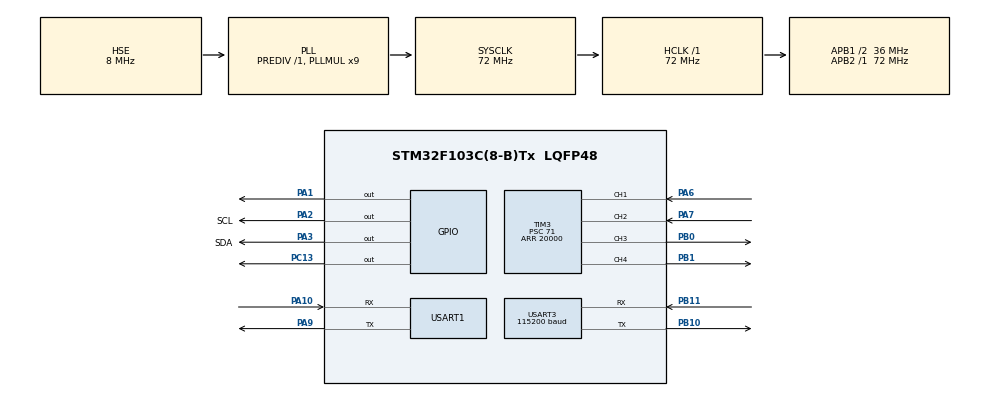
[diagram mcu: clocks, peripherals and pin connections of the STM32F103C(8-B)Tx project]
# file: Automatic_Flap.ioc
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Dma.Request0=USART3_RX
Dma.USART3_RX.0.Direction=DMA_PERIPH_TO_MEMORY
Dma.USART3_RX.0.Instance=DMA1_Channel3
Dma.USART3_RX.0.MemDataAlignment=DMA_MDATAALIGN_BYTE
Dma.USART3_RX.0.MemInc=DMA_MINC_ENABLE
Dma.USART3_RX.0.Mode=DMA_NORMAL
Dma.USART3_RX.0.PeriphDataAlignment=DMA_PDATAALIGN_BYTE
Dma.USART3_RX.0.PeriphInc=DMA_PINC_DISABLE
Dma.USART3_RX.0.Priority=DMA_PRIORITY_MEDIUM
Mcu.Family=STM32F1
Mcu.Name=STM32F103C(8-B)Tx
Mcu.Package=LQFP48
NVIC.DMA1_Channel3_IRQn=true\:0\:0\:false\:false\:true\:false\:true\:true
NVIC.PriorityGroup=NVIC_PRIORITYGROUP_4
NVIC.TIM3_IRQn=true\:0\:0\:false\:false\:true\:true\:true\:true
NVIC.USART1_IRQn=true\:0\:0\:false\:false\:true\:true\:true\:true
NVIC.USART3_IRQn=true\:0\:0\:false\:false\:true\:true\:true\:true
PA1.GPIO_ModeDefaultOutputPP=GPIO_MODE_OUTPUT_OD
PA1.GPIO_PuPd=GPIO_PULLUP
PA1.PinState=GPIO_PIN_SET
PA1.Signal=GPIO_Output
PA10.Mode=Asynchronous
PA10.Signal=USART1_RX
PA13.Mode=Serial_Wire
PA13.Signal=SYS_JTMS-SWDIO
PA14.Mode=Serial_Wire
PA14.Signal=SYS_JTCK-SWCLK
PA2.GPIO_Label=SCL
PA2.GPIO_ModeDefaultOutputPP=GPIO_MODE_OUTPUT_OD
PA2.GPIO_PuPd=GPIO_PULLUP
PA2.GPIO_Speed=GPIO_SPEED_FREQ_LOW
PA2.PinState=GPIO_PIN_SET
PA2.Signal=GPIO_Output
PA3.GPIO_Label=SDA
PA3.GPIO_ModeDefaultOutputPP=GPIO_MODE_OUTPUT_OD
PA3.GPIO_PuPd=GPIO_PULLUP
PA3.GPIO_Speed=GPIO_SPEED_FREQ_LOW
PA3.PinState=GPIO_PIN_SET
PA3.Signal=GPIO_Output
PA6.GPIO_PuPd=GPIO_PULLDOWN
PA6.Signal=S_TIM3_CH1
PA7.GPIO_PuPd=GPIO_PULLDOWN
PA7.Signal=S_TIM3_CH2
PA9.Mode=Asynchronous
PA9.Signal=USART1_TX
PB0.GPIO_Speed=GPIO_SPEED_FREQ_LOW
PB0.Signal=S_TIM3_CH3
PB1.Signal=S_TIM3_CH4
PB10.Mode=Asynchronous
PB10.Signal=USART3_TX
PB11.Mode=Asynchronous
PB11.Signal=USART3_RX
PC13-TAMPER-RTC.PinState=GPIO_PIN_SET
PC13-TAMPER-RTC.Signal=GPIO_Output
PD0-OSC_IN.Mode=HSE-External-Oscillator
PD0-OSC_IN.Signal=RCC_OSC_IN
PD1-OSC_OUT.Mode=HSE-External-Oscillator
PD1-OSC_OUT.Signal=RCC_OSC_OUT
ProjectManager.HeapSize=0x200
ProjectManager.StackSize=0x400
ProjectManager.TargetToolchain=MDK-ARM V5.32
RCC.AHBFreq_Value=72000000
RCC.APB1CLKDivider=RCC_HCLK_DIV2
RCC.APB1Freq_Value=36000000
RCC.APB1TimFreq_Value=72000000
RCC.APB2Freq_Value=72000000
RCC.APB2TimFreq_Value=72000000
RCC.HCLKFreq_Value=72000000
RCC.PLLMUL=RCC_PLL_MUL9
RCC.PLLSourceVirtual=RCC_PLLSOURCE_HSE
RCC.SYSCLKFreq_VALUE=72000000
RCC.SYSCLKSource=RCC_SYSCLKSOURCE_PLLCLK
RCC.USBFreq_Value=72000000
SH.S_TIM3_CH1.0=TIM3_CH1,Input_Capture1_from_TI1
SH.S_TIM3_CH2.0=TIM3_CH2,Input_Capture2_from_TI2
SH.S_TIM3_CH3.0=TIM3_CH3,PWM Generation3 CH3
SH.S_TIM3_CH4.0=TIM3_CH4,PWM Generation4 CH4
TIM3.Channel-Input_Capture1_from_TI1=TIM_CHANNEL_1
TIM3.Channel-Input_Capture2_from_TI2=TIM_CHANNEL_2
TIM3.Channel-PWM\ Generation3\ CH3=TIM_CHANNEL_3
TIM3.Channel-PWM\ Generation4\ CH4=TIM_CHANNEL_4
TIM3.Period=20000
TIM3.Prescaler=71
USART1.VirtualMode=VM_ASYNC
USART3.BaudRate=115200
USART3.VirtualMode=VM_ASYNC
VP_TIM3_VS_ClockSourceINT.Mode=Internal
board=custom

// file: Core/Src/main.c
/* USER CODE BEGIN Header */
/**
 ******************************************************************************
 * @file           : main.c
 * @brief          : Main program body
 ******************************************************************************
 * @attention
 *
 * Copyright (c) 2023 STMicroelectronics.
 * All rights reserved.
 *
 * This software is licensed under terms that can be found in the LICENSE file
 * in the root directory of this software component.
 * If no LICENSE file comes with this software, it is provided AS-IS.
 *
 ******************************************************************************
 */
/* USER CODE END Header */
#include "main.h"
#include "dma.h"
#include "tim.h"
#include "usart.h"
#include "gpio.h"

/* USER CODE BEGIN Includes */
#include "IMU.h"
#include "stdio.h"
#include "motor.h"
#include "receiver.h"
#include "press.h"
#include "control.h"
#include <string.h>
#include "math_Tool.h"
#include "stdlib.h"
#include "math.h"
#include "Airspeed_MS4525DO.h"
/* USER CODE END Includes */

void SystemClock_Config(void);

int main(void)
{

  /* MCU Configuration--------------------------------------------------------*/

  /* Reset of all peripherals, Initializes the Flash interface and the Systick. */
  HAL_Init();

  /* Configure the system clock */
  SystemClock_Config();

  /* Initialize all configured peripherals */
  MX_GPIO_Init();
  MX_DMA_Init();
  MX_TIM3_Init();
  MX_USART1_UART_Init();
  MX_USART3_UART_Init();
  /* USER CODE BEGIN 2 */
  // 设置IMU类型
  vSetImuFlag(JY901B);
  // 空�?�计准备
  Airspeed_Init();
  // 用户设置初始�??
  User_Init();

  /* USER CODE END 2 */
   uint16_t pwmVal=0;   //PWM占空比
    uint8_t dir=1;
  /* Infinite loop */
  while (1)
  {

    /* USER CODE BEGIN 3 */
    capture();                // 接收机输入捕获
    ImuData_Decode(IMU_DATA); // imu数据解析
    Airspeed_MS4525DO();      // 空速计数据解析
    User_Control();           // 用户防抖操作，防止因为外面因素导致产生负数控制

   // if (high_time_FLY > 0)
   // {
      printf("air:%.1f ", airspeed);
      printf("r:%d ", high_time_FLY);
      printf("1:%d ", CH1);
      printf("2:%d ", CH2);
      printf("r:%.1f\r", IMU.roll);
   // }
  }
  /* USER CODE END 3 */
}

void SystemClock_Config(void)
{
  RCC_OscInitTypeDef RCC_OscInitStruct = {0};
  RCC_ClkInitTypeDef RCC_ClkInitStruct = {0};

  /** Initializes the RCC Oscillators according to the specified parameters
   * in the RCC_OscInitTypeDef structure.
   */
  RCC_OscInitStruct.OscillatorType = RCC_OSCILLATORTYPE_HSE;
  RCC_OscInitStruct.HSEState = RCC_HSE_ON;
  RCC_OscInitStruct.HSEPredivValue = RCC_HSE_PREDIV_DIV1;
  RCC_OscInitStruct.HSIState = RCC_HSI_ON;
  RCC_OscInitStruct.PLL.PLLState = RCC_PLL_ON;
  RCC_OscInitStruct.PLL.PLLSource = RCC_PLLSOURCE_HSE;
  RCC_OscInitStruct.PLL.PLLMUL = RCC_PLL_MUL9;
  if (HAL_RCC_OscConfig(&RCC_OscInitStruct) != HAL_OK)
  {
    Error_Handler();
  }

  /** Initializes the CPU, AHB and APB buses clocks
   */
  RCC_ClkInitStruct.ClockType = RCC_CLOCKTYPE_HCLK | RCC_CLOCKTYPE_SYSCLK | RCC_CLOCKTYPE_PCLK1 | RCC_CLOCKTYPE_PCLK2;
  RCC_ClkInitStruct.SYSCLKSource = RCC_SYSCLKSOURCE_PLLCLK;
  RCC_ClkInitStruct.AHBCLKDivider = RCC_SYSCLK_DIV1;
  RCC_ClkInitStruct.APB1CLKDivider = RCC_HCLK_DIV2;
  RCC_ClkInitStruct.APB2CLKDivider = RCC_HCLK_DIV1;

  if (HAL_RCC_ClockConfig(&RCC_ClkInitStruct, FLASH_LATENCY_2) != HAL_OK)
  {
    Error_Handler();
  }
}

/* USER CODE BEGIN 4 */

void HAL_TIM_IC_CaptureCallback(TIM_HandleTypeDef *htim)
{

  if (TIM3 == htim->Instance)
  {
    /*************************************************飞行模式********************************/
    if (htim->Channel == HAL_TIM_ACTIVE_CHANNEL_1)
    {

      switch (capture_Cnt_FLY)
      {
      case 1:
        capture_Buf_FLY[0] = HAL_TIM_ReadCapturedValue(&htim3, TIM_CHANNEL_1);        // 获取当前的捕获获?.
        __HAL_TIM_SET_CAPTUREPOLARITY(&htim3, TIM_CHANNEL_1, TIM_ICPOLARITY_FALLING); // 设置为下降沿捕获
        capture_Cnt_FLY++;
        break;
      case 2:
        capture_Buf_FLY[1] = HAL_TIM_ReadCapturedValue(&htim3, TIM_CHANNEL_1); // 获取当前的捕获获?.
        HAL_TIM_IC_Stop_IT(&htim3, TIM_CHANNEL_1);                             // 停止捕获
        capture_Cnt_FLY++;
      }
    }
    /*************************************************降落模式********************************/
    if (htim->Channel == HAL_TIM_ACTIVE_CHANNEL_2)
    {

      switch (capture_Cnt_LAND)
      {
      case 1:
        capture_Buf_LAND[0] = HAL_TIM_ReadCapturedValue(&htim3, TIM_CHANNEL_2);       // 获取当前的捕获获?.
        __HAL_TIM_SET_CAPTUREPOLARITY(&htim3, TIM_CHANNEL_2, TIM_ICPOLARITY_FALLING); // 设置为下降沿捕获
        capture_Cnt_LAND++;
        break;
      case 2:
        capture_Buf_LAND[1] = HAL_TIM_ReadCapturedValue(&htim3, TIM_CHANNEL_2); // 获取当前的捕获获?.
        HAL_TIM_IC_Stop_IT(&htim3, TIM_CHANNEL_2);                              // 停止捕获
        capture_Cnt_LAND++;
      }
    }
  }
}

int fputc(int ch, FILE *f)
{
  HAL_UART_Transmit(&huart1, (uint8_t *)&ch, 1, 0xffff);
  return ch;
}

int fgetc(FILE *f)
{
  uint8_t ch = 0;
  HAL_UART_Receive(&huart1, &ch, 1, 0xffff);
  return ch;
}

/* USER CODE END 4 */

void Error_Handler(void)
{
  __disable_irq();
  while (1)
  {
  }
}
